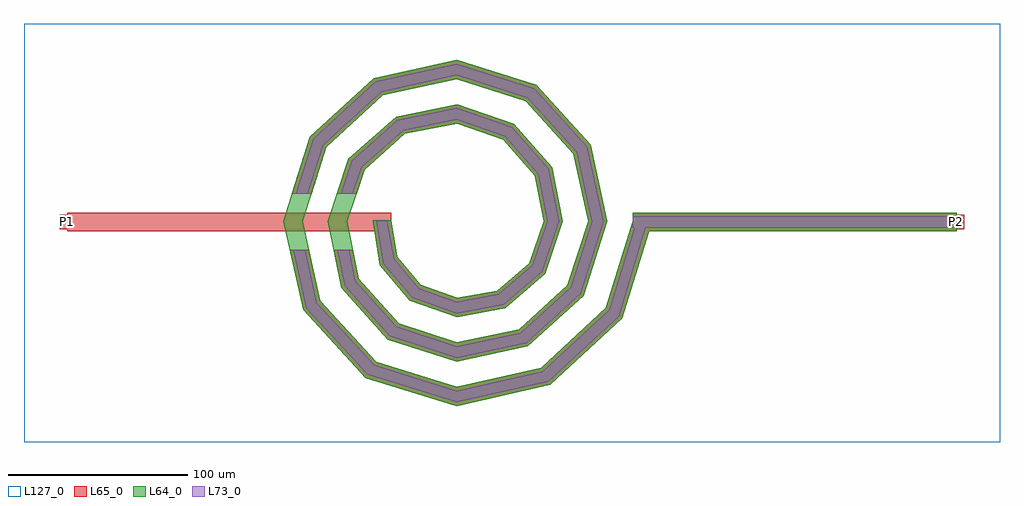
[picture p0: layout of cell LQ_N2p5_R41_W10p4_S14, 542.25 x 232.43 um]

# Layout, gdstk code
import gdstk
lib = gdstk.Library(unit=1e-6, precision=1e-09)
def R(c, l, rs):  # rectangles x0, y0, x1, y1
    for r in rs: c.add(gdstk.rectangle(r[:2], r[2:], *l))
def P(c, l, *ps):  # polygons
    for p in ps: c.add(gdstk.Polygon(p, *l))
L64_0 = (64, 0)
L65_0 = (65, 0)
L73_0 = (73, 0)
L127_0 = (127, 0)

lq_n2p5_r41_w10p4_s14 = lib.new_cell('LQ_N2p5_R41_W10p4_S14')
R(lq_n2p5_r41_w10p4_s14, L64_0, [(97.975,-5.2,277.975,5.2)])
P(lq_n2p5_r41_w10p4_s14, L64_0, [(-32.814,-19.492),(-19.718,-35.057),(0.433,-42.274),(22.524,-38.183),(40.37,-22.848),(48.441,0.383),(43.547,25.568),(25.968,45.69),(0.344,54.609),(-28.621,48.907),(-51.015,29.082),(-60.778,0.312),(-54.265,-31.679),(-32.191,-56.344),(0.285,-66.947),(34.742,-59.62),(61.675,-35.296),(73.116,0.263),(64.973,37.808),(38.398,67.007),(0.244,79.286),(-40.877,70.325),(-72.342,41.498),(-85.455,0.227),(-75.676,-43.948),(-44.596,-77.677),(0.213,-91.625),(47.021,-81.026),(83.014,-47.692),(98.206,1.534),(108.144,-1.534),(92.128,-53.426),(52.04,-90.553),(0.213,-102.385),(-50.352,-86.778),(-85.216,-48.943),(-96.214,0.227),(-81.426,47.28),(-45.844,79.88),(0.244,90.043),(44.209,76.073),(74.545,42.743),(83.872,0.263),(70.719,-41.141),(39.639,-69.211),(0.285,-77.701),(-38.076,-65.362),(-63.879,-36.531),(-71.529,0.312),(-60.003,35.015),(-33.419,58.549),(0.344,65.357),(31.958,54.641),(53.222,30.301),(59.185,0.383),(49.274,-28.909),(27.175,-47.899),(0.433,-53.011),(-25.868,-43.901),(-42.581,-24.037),(-46.596,0.889),(-36.349,0.889)])
R(lq_n2p5_r41_w10p4_s14, L65_0, [(-216.272,-5.2,-36.272,5.2), (97.975,-5.2,277.975,5.2), (-220.272,-4,-212.272,4), (273.975,-4,281.975,4)])
P(lq_n2p5_r41_w10p4_s14, L65_0, [(-75.676,-43.949),(-44.596,-77.677),(0.213,-91.625),(47.021,-81.027),(83.014,-47.692),(98.207,1.534),(108.144,-1.534),(92.128,-53.426),(52.04,-90.553),(0.213,-102.385),(-50.352,-86.778),(-85.216,-48.943),(-92.674,-15.6),(-82.017,-15.6)],
  [(-54.265,-31.679),(-32.191,-56.344),(0.285,-66.947),(34.742,-59.62),(61.675,-35.296),(73.116,0.263),(64.973,37.808),(38.398,67.007),(0.244,79.286),(-40.877,70.325),(-72.342,41.498),(-80.481,15.6),(-91.383,15.6),(-81.426,47.28),(-45.844,79.88),(0.244,90.043),(44.21,76.073),(74.545,42.743),(83.872,0.263),(70.719,-41.141),(39.639,-69.211),(0.285,-77.701),(-38.076,-65.362),(-63.879,-36.531),(-68.225,-15.6),(-57.603,-15.6)],
  [(-19.718,-35.057),(0.433,-42.274),(22.524,-38.183),(40.37,-22.848),(48.441,0.383),(43.547,25.568),(25.968,45.69),(0.344,54.609),(-28.621,48.907),(-51.015,29.082),(-55.493,15.6),(-66.452,15.6),(-60.004,35.015),(-33.419,58.549),(0.344,65.357),(31.958,54.641),(53.222,30.301),(59.185,0.383),(49.274,-28.909),(27.175,-47.899),(0.433,-53.011),(-25.868,-43.901),(-42.581,-24.037),(-46.596,0.889),(-36.349,0.889),(-32.814,-19.492)])
R(lq_n2p5_r41_w10p4_s14, L73_0, [(97.975,-3.2,277.975,3.2)])
P(lq_n2p5_r41_w10p4_s14, L73_0, [(-77.511,-44.909),(-45.703,-79.427),(0.131,-93.694),(47.987,-82.859),(84.767,-48.795),(100.118,0.944),(106.233,0.944),(90.376,-52.324),(51.075,-88.721),(0.131,-100.316),(-49.245,-85.028),(-83.382,-47.983),(-90.625,-15.6),(-84.066,-15.6)],
  [(-56.114,-32.612),(-33.323,-58.078),(0.176,-69.015),(35.684,-61.464),(63.414,-36.42),(75.185,0.162),(66.814,38.757),(39.516,68.751),(0.15,81.354),(-41.832,72.163),(-74.089,42.61),(-82.578,15.6),(-89.286,15.6),(-79.679,46.168),(-44.889,78.043),(0.15,87.974),(43.092,74.33),(72.704,41.794),(81.804,0.162),(68.98,-40.017),(38.697,-67.367),(0.176,-75.633),(-36.944,-63.628),(-62.03,-35.598),(-66.183,-15.6),(-59.646,-15.6)],
  [(-20.901,-36.757),(0.266,-44.339),(23.419,-40.052),(42.083,-24.013),(50.507,0.236),(45.408,26.479),(27.12,47.412),(0.212,56.676),(-29.544,50.762),(-52.744,30.223),(-57.601,15.6),(-64.344,15.6),(-58.275,33.874),(-32.496,56.695),(0.212,63.29),(30.806,52.92),(51.361,29.391),(57.119,0.236),(47.562,-27.743),(26.281,-46.03),(0.266,-50.946),(-24.685,-42.2),(-40.703,-23.163),(-44.625,0.547),(-38.32,0.547),(-34.692,-20.366)])
R(lq_n2p5_r41_w10p4_s14, L127_0, [(-240.272,-122.385,301.975,110.043)])
lq_n2p5_r41_w10p4_s14.add(gdstk.Label('P2', (277.975,0), layer=65, texttype=0))
lq_n2p5_r41_w10p4_s14.add(gdstk.Label('P1', (-216.272,0), layer=65, texttype=0))
lq_n2p5_r41_w10p4_s14.add(gdstk.Label('P2', (281.975,0), layer=145, texttype=0))
lq_n2p5_r41_w10p4_s14.add(gdstk.Label('P1', (-220.272,0), layer=145, texttype=0))

lib.write_gds('LQ_N2p5_R41_W10p4_S14.gds')
